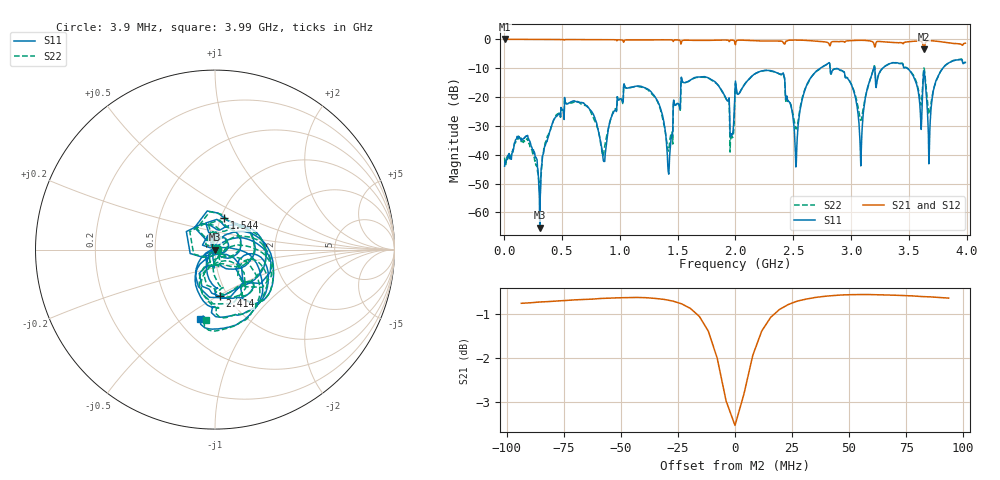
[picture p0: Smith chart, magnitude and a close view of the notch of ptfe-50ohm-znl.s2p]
#  HZ  S  RI  R  50.00
! Rohde & Schwarz Vector Network Analyzer
! Rohde-Schwarz,ZNL20-2Port,1323001220101312,1.72.1.6-23.02.1.246
! Created: UTC 10/8/2024, 6:55:11 PM
! freq[Hz]  re:S11  im:S11  re:S21  im:S21  re:S12  im:S12  re:S22  im:S22
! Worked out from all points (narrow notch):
!   1023 points, 3.9 MHz to 3.99 GHz, reference 50 ohm
!   highest |S21| = 0.03 dB at 7.8 MHz (marker M1); lowest = -3.5 dB at 3.631 GHz (marker M2)
!   notch at M2: 3.1 dB deep, 15.7 MHz wide at half that depth
!   lowest |S11| = -65.3 dB at 308.1 MHz (marker M3), VSWR 1.00, Z = 50 - j0.0531 ohm
!   |S11| at or under -10 dB: start of sweep to 2.736 GHz; 2.82 GHz to 3.197 GHz (377.8 MHz wide, 12.6 % of centre); 3.482 GHz to 3.795 GHz (313.2 MHz wide, 8.61 % of centre)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
!   |S22| runs from -53.5 to -6.9 dB; largest |S21 - S12| = 0.016
!   S11 on the Smith chart (normalised r, x): 3.9 MHz: 1.01, +0.00; 1.544 GHz: 1.04, +0.38; 2.414 GHz: 0.92, -0.51; 3.99 GHz: 0.64, -0.59
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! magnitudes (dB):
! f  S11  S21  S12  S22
! 3.9 MHz  -44.0  0.0  -0.1  -41.0
! 7.8 MHz  -42.4  0.0  -0.1  -43.4
! 198.9 MHz  -33.6  -0.1  -0.1  -34.5
! 308.1 MHz  -65.3  -0.1  -0.1  -53.5
! 432.9 MHz  -27.7  -0.1  -0.1  -27.6
! 670.8 MHz  -21.9  -0.1  -0.1  -22.6
! 861.9 MHz  -42.3  -0.1  -0.1  -39.1
! 1.053 GHz  -16.9  -0.3  -0.3  -16.8
! 1.334 GHz  -22.1  -0.2  -0.2  -22.3
! 1.423 GHz  -46.7  -0.2  -0.2  -38.8
! 1.544 GHz  -14.8  -0.4  -0.4  -14.9
! 1.997 GHz  -17.1  -1.5  -1.5  -18.3
! 2.414 GHz  -11.7  -1.2  -1.1  -11.8
! 2.523 GHz  -44.2  -0.3  -0.3  -31.0
! 2.664 GHz  -12.7  -0.6  -0.6  -12.7
! 2.925 GHz  -11.0  -0.8  -0.8  -11.0
! 3.085 GHz  -43.9  -0.4  -0.4  -28.1
! 3.327 GHz  -8.6  -1.1  -1.1  -8.7
! 3.631 GHz  -11.0  -3.5  -3.5  -10.0
! 3.678 GHz  -38.8  -0.6  -0.5  -26.0
! 3.771 GHz  -11.4  -0.9  -0.8  -11.4
! 3.99 GHz  -8.1  -1.4  -1.4  -8.0
